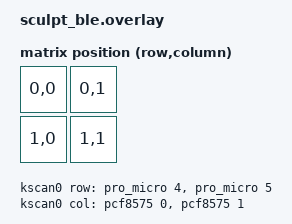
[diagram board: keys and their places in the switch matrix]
#include <dt-bindings/zmk/matrix_transform.h>

 / {
     chosen {
         zmk,kscan = &kscan0;
         zmk,physical-layout = &sculpt_layout0;
     };

     default_transform: keymap_transform0 {
         compatible = "zmk,matrix-transform";

         // 2×2 test matrix
         columns = <2>;
         rows = <2>;

         map = <
             RC(0,0) RC(0,1)
             RC(1,0) RC(1,1)
         >;
     };

     sculpt_layout0: sculpt_layout_0 {
         compatible = "zmk,physical-layout";
         display-name = "Sculpt test layout";
         kscan = <&kscan0>;
         transform = <&default_transform>;
     };
 };

 /* I2C bus on the nice!nano Pro Micro-style header */
    &pro_micro_i2c {
        status = "okay";

        pcf8575: gpio-expander@20 {
            compatible = "nxp,pcf857x";
            reg = <0x20>;
            status = "okay";
            gpio-controller;
            #gpio-cells = <2>;
            ngpios = <16>;
        };
    };

    &pro_micro {
        kscan0: kscan {
            compatible = "zmk,kscan-gpio-matrix";
            label = "Sculpt kscan";

            diode-direction = "col2row";

            row-gpios = <&pro_micro 4 GPIO_ACTIVE_HIGH>,
                        <&pro_micro 5 GPIO_ACTIVE_HIGH>;

            col-gpios = <&pcf8575 0 GPIO_ACTIVE_HIGH>,
                        <&pcf8575 1 GPIO_ACTIVE_HIGH>;
                        /* ... up to 15 if you want */
        };
    };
